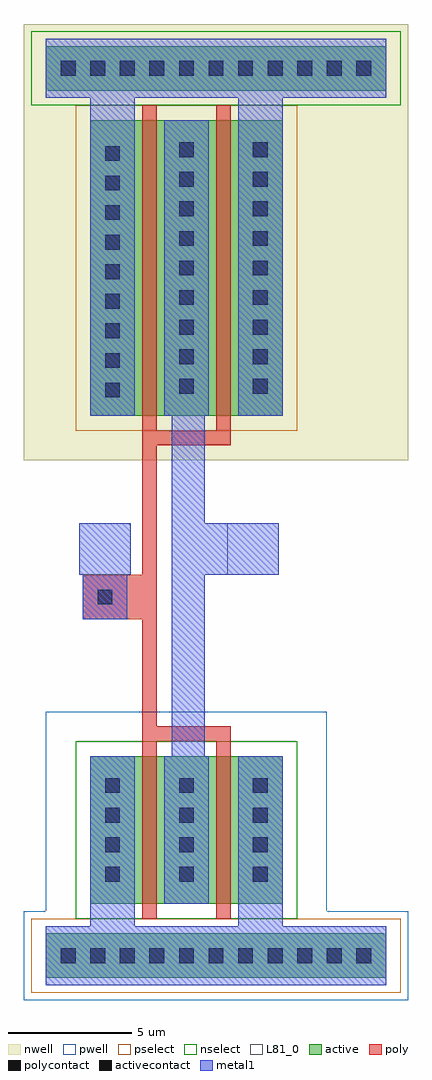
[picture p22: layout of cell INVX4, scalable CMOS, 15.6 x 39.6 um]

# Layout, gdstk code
import gdstk
lib = gdstk.Library(unit=1e-6, precision=1e-09)
def R(c, l, rs):  # rectangles x0, y0, x1, y1
    for r in rs: c.add(gdstk.rectangle(r[:2], r[2:], *l))
def A(c, l, x, y, w, h, nx, ny, dx, dy):  # array of equal rectangles
    R(c, l, [(x+i*dx, y+j*dy, x+i*dx+w, y+j*dy+h) for i in range(nx) for j in range(ny)])
pwell = (41, 0)
nwell = (42, 0)
active = (43, 0)
pselect = (44, 0)
nselect = (45, 0)
poly = (46, 0)
polycontact = (47, 0)
activecontact = (48, 0)
metal1 = (49, 0)
L81_0 = (81, 0)

invx4 = lib.new_cell('INVX4')
R(invx4, pwell, [(-1.8,-1.8,13.8,1.8), (-0.9,1.8,10.5,9.9)])
R(invx4, nwell, [(-1.8,20.1,13.8,37.8)])
R(invx4, active, [(-0.9,-0.9,12.9,0.9), (0.9,2.1,8.7,8.1), (0.9,21.9,8.7,33.9), (-0.9,35.1,12.9,36.9)])
R(invx4, pselect, [(-1.5,-1.5,13.5,1.5), (0.3,21.3,9.3,34.5)])
R(invx4, nselect, [(0.3,1.5,9.3,8.7), (-1.5,34.5,13.5,37.5)])
R(invx4, poly, [(3,1.5,3.6,8.7), (6,1.5,6.6,8.7), (3,8.7,6.6,9.3), (3,9.3,3.6,13.65), (0.6,13.65,3.6,15.45), (3,15.45,3.6,20.7), (3,20.7,6.6,21.3), (3,21.3,3.6,34.5), (6,21.3,6.6,34.5)])
R(invx4, polycontact, [(1.2,14.25,1.8,14.85)])
A(invx4, activecontact, -0.3, -0.3, 0.6, 0.6, 11, 2, 1.2, 36)
A(invx4, activecontact, 1.5, 3, 0.6, 0.6, 3, 4, 3, 1.2)
A(invx4, activecontact, 1.5, 22.65, 0.6, 0.6, 1, 9, 0, 1.2)
A(invx4, activecontact, 4.5, 22.8, 0.6, 0.6, 1, 9, 0, 1.2)
A(invx4, activecontact, 7.5, 22.8, 0.6, 0.6, 1, 9, 0, 1.2)
R(invx4, metal1, [(-0.9,-1.2,12.9,1.2), (0.9,1.2,2.7,8.1), (6.9,1.2,8.7,8.1), (3.9,2.1,5.7,8.1), (4.2,8.1,5.55,15.45), (0.6,13.65,2.4,15.45), (0.45,15.45,2.55,17.55), (4.2,15.45,8.55,17.55), (4.2,17.55,5.55,21.9), (0.9,21.9,2.7,34.8), (3.9,21.9,5.7,33.9), (6.9,21.9,8.7,34.8), (-0.9,34.8,12.9,37.2)])
R(invx4, L81_0, [(0.45,15.45,2.55,17.55), (6.45,15.45,8.55,17.55)])

lib.write_gds('INVX4.gds')
